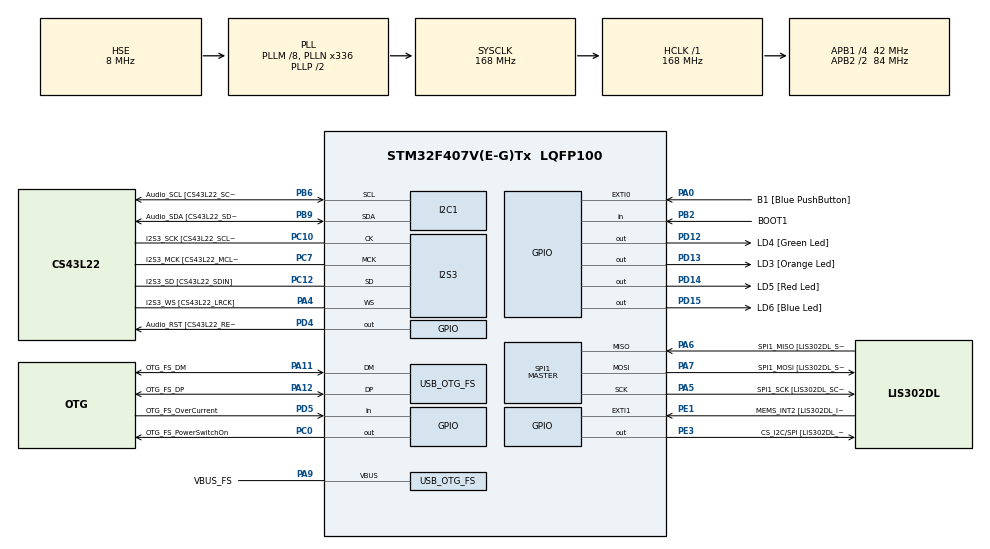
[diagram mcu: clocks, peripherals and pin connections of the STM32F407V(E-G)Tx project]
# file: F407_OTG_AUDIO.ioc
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Dma.Request0=SPI3_TX
Dma.SPI3_TX.0.Direction=DMA_MEMORY_TO_PERIPH
Dma.SPI3_TX.0.FIFOMode=DMA_FIFOMODE_ENABLE
Dma.SPI3_TX.0.FIFOThreshold=DMA_FIFO_THRESHOLD_FULL
Dma.SPI3_TX.0.Instance=DMA1_Stream5
Dma.SPI3_TX.0.MemBurst=DMA_MBURST_SINGLE
Dma.SPI3_TX.0.MemDataAlignment=DMA_MDATAALIGN_HALFWORD
Dma.SPI3_TX.0.MemInc=DMA_MINC_ENABLE
Dma.SPI3_TX.0.Mode=DMA_CIRCULAR
Dma.SPI3_TX.0.PeriphBurst=DMA_PBURST_SINGLE
Dma.SPI3_TX.0.PeriphDataAlignment=DMA_PDATAALIGN_HALFWORD
Dma.SPI3_TX.0.PeriphInc=DMA_PINC_DISABLE
Dma.SPI3_TX.0.Priority=DMA_PRIORITY_HIGH
FATFS._MAX_SS=4096
I2S3.AudioFreq=I2S_AUDIOFREQ_44K
I2S3.AudioFreq-Half_Duplex_Master=I2S_AUDIOFREQ_96K
I2S3.ErrorAudioFreq=0.24 %
I2S3.ErrorAudioFreq-Half_Duplex_Master=0.8 %
I2S3.FullDuplexMode=I2S_FULLDUPLEXMODE_DISABLE
I2S3.Instance=SPI$Index
I2S3.RealAudioFreq=44.108 KHz
I2S3.RealAudioFreq-Half_Duplex_Master=96.774 KHz
I2S3.Standard=I2S_STANDARD_PHILIPS
I2S3.VirtualMode=I2S_MODE_MASTER
Mcu.Family=STM32F4
Mcu.Name=STM32F407V(E-G)Tx
Mcu.Package=LQFP100
NVIC.DMA1_Stream5_IRQn=true\:0\:0\:false\:false\:true\:false\:true
NVIC.OTG_FS_IRQn=true\:0\:0\:false\:false\:true\:true\:true
NVIC.PriorityGroup=NVIC_PRIORITYGROUP_0
PA0-WKUP.GPIO_Label=B1 [Blue PushButton]
PA0-WKUP.GPIO_ModeDefaultEXTI=GPIO_MODE_EVT_RISING
PA0-WKUP.GPIO_PuPd=GPIO_NOPULL
PA0-WKUP.Signal=GPXTI0
PA10.GPIO_Label=OTG_FS_ID
PA10.GPIO_Mode=GPIO_MODE_AF_PP
PA10.GPIO_PuPd=GPIO_NOPULL
PA10.GPIO_Speed=GPIO_SPEED_FREQ_LOW
PA10.Signal=USB_OTG_FS_ID
PA11.GPIO_Label=OTG_FS_DM
PA11.GPIO_Mode=GPIO_MODE_AF_PP
PA11.GPIO_PuPd=GPIO_NOPULL
PA11.GPIO_Speed=GPIO_SPEED_FREQ_LOW
PA11.Mode=Host_Only
PA11.Signal=USB_OTG_FS_DM
PA12.GPIO_Label=OTG_FS_DP
PA12.GPIO_Mode=GPIO_MODE_AF_PP
PA12.GPIO_PuPd=GPIO_NOPULL
PA12.GPIO_Speed=GPIO_SPEED_FREQ_LOW
PA12.Mode=Host_Only
PA12.Signal=USB_OTG_FS_DP
PA13.GPIO_Label=SWDIO
PA13.Mode=Serial_Wire
PA13.Signal=SYS_JTMS-SWDIO
PA14.GPIO_Label=SWCLK
PA14.Mode=Serial_Wire
PA14.Signal=SYS_JTCK-SWCLK
PA4.GPIO_Label=I2S3_WS [CS43L22_LRCK]
PA4.GPIO_Mode=GPIO_MODE_AF_PP
PA4.GPIO_PuPd=GPIO_NOPULL
PA4.GPIO_Speed=GPIO_SPEED_FREQ_LOW
PA4.Mode=Half_Duplex_Master
PA4.Signal=I2S3_WS
PA5.GPIO_Label=SPI1_SCK [LIS302DL_SCL/SPC]
PA5.GPIO_Mode=GPIO_MODE_AF_PP
PA5.GPIO_PuPd=GPIO_NOPULL
PA5.GPIO_Speed=GPIO_SPEED_FREQ_LOW
PA5.Mode=Full_Duplex_Master
PA5.Signal=SPI1_SCK
PA6.GPIO_Label=SPI1_MISO [LIS302DL_SDO]
PA6.GPIO_Mode=GPIO_MODE_AF_PP
PA6.GPIO_PuPd=GPIO_NOPULL
PA6.GPIO_Speed=GPIO_SPEED_FREQ_LOW
PA6.Mode=Full_Duplex_Master
PA6.Signal=SPI1_MISO
PA7.GPIO_Label=SPI1_MOSI [LIS302DL_SDA/SDI/SDO]
PA7.GPIO_Mode=GPIO_MODE_AF_PP
PA7.GPIO_PuPd=GPIO_NOPULL
PA7.GPIO_Speed=GPIO_SPEED_FREQ_LOW
PA7.Mode=Full_Duplex_Master
PA7.Signal=SPI1_MOSI
PA9.GPIO_Label=VBUS_FS
PA9.GPIO_Mode=GPIO_MODE_INPUT
PA9.GPIO_PuPd=GPIO_NOPULL
PA9.Mode=Activate_VBUS
PA9.Signal=USB_OTG_FS_VBUS
PB10.GPIO_Label=CLK_IN [MP45DT02_CLK]
PB10.GPIO_Mode=GPIO_MODE_AF_PP
PB10.GPIO_PuPd=GPIO_NOPULL
PB10.GPIO_Speed=GPIO_SPEED_FREQ_LOW
PB10.Signal=I2S2_CK
PB2.GPIO_Label=BOOT1
PB2.GPIO_Mode=GPIO_MODE_INPUT
PB2.GPIO_PuPd=GPIO_NOPULL
PB2.Signal=GPIO_Input
PB3.GPIO_Label=SWO
PB3.Signal=SYS_JTDO-SWO
PB6.GPIO_Label=Audio_SCL [CS43L22_SCL]
PB6.GPIO_Mode=GPIO_MODE_AF_OD
PB6.GPIO_PuPd=GPIO_NOPULL
PB6.GPIO_Speed=GPIO_SPEED_FREQ_LOW
PB6.Mode=I2C
PB6.Signal=I2C1_SCL
PB9.GPIO_Label=Audio_SDA [CS43L22_SDA]
PB9.GPIO_Mode=GPIO_MODE_AF_OD
PB9.GPIO_PuPd=GPIO_NOPULL
PB9.GPIO_Speed=GPIO_SPEED_FREQ_LOW
PB9.Mode=I2C
PB9.Signal=I2C1_SDA
PC0.GPIO_Label=OTG_FS_PowerSwitchOn
PC0.GPIO_PuPd=GPIO_NOPULL
PC0.GPIO_Speed=GPIO_SPEED_FREQ_LOW
PC0.PinState=GPIO_PIN_SET
PC0.Signal=GPIO_Output
PC10.GPIO_Label=I2S3_SCK [CS43L22_SCLK]
PC10.GPIO_Mode=GPIO_MODE_AF_PP
PC10.GPIO_PuPd=GPIO_NOPULL
PC10.GPIO_Speed=GPIO_SPEED_FREQ_LOW
PC10.Mode=Half_Duplex_Master
PC10.Signal=I2S3_CK
PC12.GPIO_Label=I2S3_SD [CS43L22_SDIN]
PC12.GPIO_Mode=GPIO_MODE_AF_PP
PC12.GPIO_PuPd=GPIO_NOPULL
PC12.GPIO_Speed=GPIO_SPEED_FREQ_LOW
PC12.Mode=Half_Duplex_Master
PC12.Signal=I2S3_SD
PC14-OSC32_IN.GPIO_Label=PC14-OSC32_IN
PC14-OSC32_IN.Mode=LSE-External-Oscillator
PC14-OSC32_IN.Signal=RCC_OSC32_IN
PC15-OSC32_OUT.GPIO_Label=PC15-OSC32_OUT
PC15-OSC32_OUT.Mode=LSE-External-Oscillator
PC15-OSC32_OUT.Signal=RCC_OSC32_OUT
PC3.GPIO_Label=PDM_OUT [MP45DT02_DOUT]
PC3.GPIO_Mode=GPIO_MODE_AF_PP
PC3.GPIO_PuPd=GPIO_NOPULL
PC3.GPIO_Speed=GPIO_SPEED_FREQ_LOW
PC3.Signal=I2S2_SD
PC7.GPIO_Label=I2S3_MCK [CS43L22_MCLK]
PC7.GPIO_Mode=GPIO_MODE_AF_PP
PC7.GPIO_PuPd=GPIO_NOPULL
PC7.GPIO_Speed=GPIO_SPEED_FREQ_LOW
PC7.Mode=Master_Clock_Activated
PC7.Signal=I2S3_MCK
PD12.GPIO_Label=LD4 [Green Led]
PD12.GPIO_PuPd=GPIO_NOPULL
PD12.GPIO_Speed=GPIO_SPEED_FREQ_LOW
PD12.Signal=GPIO_Output
PD13.GPIO_Label=LD3 [Orange Led]
PD13.GPIO_PuPd=GPIO_NOPULL
PD13.GPIO_Speed=GPIO_SPEED_FREQ_LOW
PD13.Signal=GPIO_Output
PD14.GPIO_Label=LD5 [Red Led]
PD14.GPIO_PuPd=GPIO_NOPULL
PD14.GPIO_Speed=GPIO_SPEED_FREQ_LOW
PD14.Signal=GPIO_Output
PD15.GPIO_Label=LD6 [Blue Led]
PD15.GPIO_PuPd=GPIO_NOPULL
PD15.GPIO_Speed=GPIO_SPEED_FREQ_LOW
PD15.Signal=GPIO_Output
PD4.GPIO_Label=Audio_RST [CS43L22_RESET]
PD4.GPIO_PuPd=GPIO_NOPULL
PD4.GPIO_Speed=GPIO_SPEED_FREQ_LOW
PD4.Signal=GPIO_Output
PD5.GPIO_Label=OTG_FS_OverCurrent
PD5.GPIO_Mode=GPIO_MODE_INPUT
PD5.GPIO_PuPd=GPIO_NOPULL
PD5.Signal=GPIO_Input
PE1.GPIO_Label=MEMS_INT2 [LIS302DL_INT2]
PE1.GPIO_ModeDefaultEXTI=GPIO_MODE_EVT_RISING
PE1.GPIO_PuPd=GPIO_NOPULL
PE1.Signal=GPXTI1
PE3.GPIO_Label=CS_I2C/SPI [LIS302DL_CS_I2C/SPI]
PE3.GPIO_PuPd=GPIO_NOPULL
PE3.GPIO_Speed=GPIO_SPEED_FREQ_LOW
PE3.Signal=GPIO_Output
PH0-OSC_IN.GPIO_Label=PH0-OSC_IN
PH0-OSC_IN.Mode=HSE-External-Oscillator
PH0-OSC_IN.Signal=RCC_OSC_IN
PH1-OSC_OUT.GPIO_Label=PH1-OSC_OUT
PH1-OSC_OUT.Mode=HSE-External-Oscillator
PH1-OSC_OUT.Signal=RCC_OSC_OUT
ProjectManager.HeapSize=0x200
ProjectManager.StackSize=0x400
ProjectManager.TargetToolchain=STM32CubeIDE
RCC.48MHZClocksFreq_Value=48000000
RCC.AHBFreq_Value=168000000
RCC.APB1CLKDivider=RCC_HCLK_DIV4
RCC.APB1Freq_Value=42000000
RCC.APB1TimFreq_Value=84000000
RCC.APB2CLKDivider=RCC_HCLK_DIV2
RCC.APB2Freq_Value=84000000
RCC.APB2TimFreq_Value=168000000
RCC.CortexFreq_Value=168000000
RCC.HCLKFreq_Value=168000000
RCC.HSE_VALUE=8000000
RCC.HSI_VALUE=16000000
RCC.PLLI2SN=271
RCC.PLLM=8
RCC.PLLN=336
RCC.PLLQ=7
RCC.SYSCLKFreq_VALUE=168000000
RCC.SYSCLKSource=RCC_SYSCLKSOURCE_PLLCLK
RCC.VCOOutputFreq_Value=336000000
SPI1.BaudRatePrescaler-Full_Duplex_Master=SPI_BAUDRATEPRESCALER_2
SPI1.CalculateBaudRate-Full_Duplex_Master=42.0 MBits/s
SPI1.Direction=SPI_DIRECTION_2LINES
SPI1.Mode=SPI_MODE_MASTER
SPI1.Mode-Full_Duplex_Master=SPI_MODE_MASTER
SPI1.VirtualType=VM_MASTER
USB_HOST.BSP.number=1
USB_HOST.USBH_HandleTypeDef-MSC_FS=hUsbHostFS
USB_HOST.VirtualModeFS=Msc
USB_HOST0.BSP.STBoard=false
USB_HOST0.BSP.api=Unknown
USB_HOST0.BSP.i2caddr=0
USB_HOST0.BSP.i2creg=0
USB_HOST0.BSP.instance=PC0
USB_HOST0.BSP.ip=GPIO
USB_HOST0.BSP.mode=Output
USB_HOST0.BSP.name=Drive_VBUS_FS
USB_HOST0.BSP.solution=PC0
USB_OTG_FS.VirtualMode=Host_Only
USB_OTG_FS.phy_itface=HCD_PHY_EMBEDDED
VP_FATFS_VS_USB.Mode=USB
VP_USB_HOST_VS_USB_HOST_MSC_FS.Mode=MSC_FS
board=STM32F407G-DISC1

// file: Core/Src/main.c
/* USER CODE BEGIN Header */
/**
  ******************************************************************************
  * @file           : main.c
  * @brief          : Main program body
  ******************************************************************************
  * @attention
  *
  * <h2><center>&copy; Copyright (c) 2020 STMicroelectronics.
  * All rights reserved.</center></h2>
  *
  * This software component is licensed by ST under Ultimate Liberty license
  * SLA0044, the "License"; You may not use this file except in compliance with
  * the License. You may obtain a copy of the License at:
  *                             www.st.com/SLA0044
  *
  ******************************************************************************
  */
/* USER CODE END Header */

#include "main.h"
#include "fatfs.h"
#include "usb_host.h"

/* USER CODE BEGIN Includes */
#include "CS43L22.h"
/* USER CODE END Includes */

I2C_HandleTypeDef hi2c1;

I2S_HandleTypeDef hi2s3;
DMA_HandleTypeDef hdma_spi3_tx;

SPI_HandleTypeDef hspi1;

/* USER CODE BEGIN PV */
extern ApplicationTypeDef Appli_state;
/* USER CODE END PV */

void SystemClock_Config(void);
static void MX_GPIO_Init(void);
static void MX_DMA_Init(void);
static void MX_I2C1_Init(void);
static void MX_I2S3_Init(void);
static void MX_SPI1_Init(void);
void MX_USB_HOST_Process(void);

int main(void)
{

  /* MCU Configuration--------------------------------------------------------*/

  /* Reset of all peripherals, Initializes the Flash interface and the Systick. */
  HAL_Init();

  /* Configure the system clock */
  SystemClock_Config();

  /* Initialize all configured peripherals */
  MX_GPIO_Init();
  MX_DMA_Init();
  MX_I2C1_Init();
  MX_I2S3_Init();
  MX_SPI1_Init();
  MX_USB_HOST_Init();
  MX_FATFS_Init();
  /* USER CODE BEGIN 2 */
  audioInit();
  /* USER CODE END 2 */

  /* Infinite loop */
  while (1)
  {
    MX_USB_HOST_Process();

    /* USER CODE BEGIN 3 */
    switch(Appli_state){
    case APPLICATION_IDLE:
    	break;
    case APPLICATION_START:
    	f_mount(&USBHFatFS,USBHPath,0);
    	HAL_GPIO_WritePin(GPIOD,GPIO_PIN_12,GPIO_PIN_SET);
    	break;
    case APPLICATION_READY:
    	audioPlay("prueba3.wav");
    	while(1);
    	break;
    case APPLICATION_DISCONNECT:
    	HAL_GPIO_WritePin(GPIOD,GPIO_PIN_12,GPIO_PIN_RESET);
    	break;
    }
  }
  /* USER CODE END 3 */
}

void SystemClock_Config(void)
{
  RCC_OscInitTypeDef RCC_OscInitStruct = {0};
  RCC_ClkInitTypeDef RCC_ClkInitStruct = {0};
  RCC_PeriphCLKInitTypeDef PeriphClkInitStruct = {0};

  /** Configure the main internal regulator output voltage
  */
  __HAL_RCC_PWR_CLK_ENABLE();
  __HAL_PWR_VOLTAGESCALING_CONFIG(PWR_REGULATOR_VOLTAGE_SCALE1);
  /** Initializes the CPU, AHB and APB busses clocks
  */
  RCC_OscInitStruct.OscillatorType = RCC_OSCILLATORTYPE_HSE;
  RCC_OscInitStruct.HSEState = RCC_HSE_ON;
  RCC_OscInitStruct.PLL.PLLState = RCC_PLL_ON;
  RCC_OscInitStruct.PLL.PLLSource = RCC_PLLSOURCE_HSE;
  RCC_OscInitStruct.PLL.PLLM = 8;
  RCC_OscInitStruct.PLL.PLLN = 336;
  RCC_OscInitStruct.PLL.PLLP = RCC_PLLP_DIV2;
  RCC_OscInitStruct.PLL.PLLQ = 7;
  if (HAL_RCC_OscConfig(&RCC_OscInitStruct) != HAL_OK)
  {
    Error_Handler();
  }
  /** Initializes the CPU, AHB and APB busses clocks
  */
  RCC_ClkInitStruct.ClockType = RCC_CLOCKTYPE_HCLK|RCC_CLOCKTYPE_SYSCLK
                              |RCC_CLOCKTYPE_PCLK1|RCC_CLOCKTYPE_PCLK2;
  RCC_ClkInitStruct.SYSCLKSource = RCC_SYSCLKSOURCE_PLLCLK;
  RCC_ClkInitStruct.AHBCLKDivider = RCC_SYSCLK_DIV1;
  RCC_ClkInitStruct.APB1CLKDivider = RCC_HCLK_DIV4;
  RCC_ClkInitStruct.APB2CLKDivider = RCC_HCLK_DIV2;

  if (HAL_RCC_ClockConfig(&RCC_ClkInitStruct, FLASH_LATENCY_5) != HAL_OK)
  {
    Error_Handler();
  }
  PeriphClkInitStruct.PeriphClockSelection = RCC_PERIPHCLK_I2S;
  PeriphClkInitStruct.PLLI2S.PLLI2SN = 271;
  PeriphClkInitStruct.PLLI2S.PLLI2SR = 2;
  if (HAL_RCCEx_PeriphCLKConfig(&PeriphClkInitStruct) != HAL_OK)
  {
    Error_Handler();
  }
}

static void MX_I2C1_Init(void)
{

  hi2c1.Instance = I2C1;
  hi2c1.Init.ClockSpeed = 100000;
  hi2c1.Init.DutyCycle = I2C_DUTYCYCLE_2;
  hi2c1.Init.OwnAddress1 = 0;
  hi2c1.Init.AddressingMode = I2C_ADDRESSINGMODE_7BIT;
  hi2c1.Init.DualAddressMode = I2C_DUALADDRESS_DISABLE;
  hi2c1.Init.OwnAddress2 = 0;
  hi2c1.Init.GeneralCallMode = I2C_GENERALCALL_DISABLE;
  hi2c1.Init.NoStretchMode = I2C_NOSTRETCH_DISABLE;
  if (HAL_I2C_Init(&hi2c1) != HAL_OK)
  {
    Error_Handler();
  }

}

static void MX_I2S3_Init(void)
{

  hi2s3.Instance = SPI3;
  hi2s3.Init.Mode = I2S_MODE_MASTER_TX;
  hi2s3.Init.Standard = I2S_STANDARD_PHILIPS;
  hi2s3.Init.DataFormat = I2S_DATAFORMAT_16B;
  hi2s3.Init.MCLKOutput = I2S_MCLKOUTPUT_ENABLE;
  hi2s3.Init.AudioFreq = I2S_AUDIOFREQ_44K;
  hi2s3.Init.CPOL = I2S_CPOL_LOW;
  hi2s3.Init.ClockSource = I2S_CLOCK_PLL;
  hi2s3.Init.FullDuplexMode = I2S_FULLDUPLEXMODE_DISABLE;
  if (HAL_I2S_Init(&hi2s3) != HAL_OK)
  {
    Error_Handler();
  }

}

static void MX_SPI1_Init(void)
{

  /* SPI1 parameter configuration*/
  hspi1.Instance = SPI1;
  hspi1.Init.Mode = SPI_MODE_MASTER;
  hspi1.Init.Direction = SPI_DIRECTION_2LINES;
  hspi1.Init.DataSize = SPI_DATASIZE_8BIT;
  hspi1.Init.CLKPolarity = SPI_POLARITY_LOW;
  hspi1.Init.CLKPhase = SPI_PHASE_1EDGE;
  hspi1.Init.NSS = SPI_NSS_SOFT;
  hspi1.Init.BaudRatePrescaler = SPI_BAUDRATEPRESCALER_2;
  hspi1.Init.FirstBit = SPI_FIRSTBIT_MSB;
  hspi1.Init.TIMode = SPI_TIMODE_DISABLE;
  hspi1.Init.CRCCalculation = SPI_CRCCALCULATION_DISABLE;
  hspi1.Init.CRCPolynomial = 10;
  if (HAL_SPI_Init(&hspi1) != HAL_OK)
  {
    Error_Handler();
  }

}

static void MX_DMA_Init(void)
{

  /* DMA controller clock enable */
  __HAL_RCC_DMA1_CLK_ENABLE();

  /* DMA interrupt init */
  /* DMA1_Stream5_IRQn interrupt configuration */
  HAL_NVIC_SetPriority(DMA1_Stream5_IRQn, 0, 0);
  HAL_NVIC_EnableIRQ(DMA1_Stream5_IRQn);

}

static void MX_GPIO_Init(void)
{
  GPIO_InitTypeDef GPIO_InitStruct = {0};

  /* GPIO Ports Clock Enable */
  __HAL_RCC_GPIOE_CLK_ENABLE();
  __HAL_RCC_GPIOC_CLK_ENABLE();
  __HAL_RCC_GPIOH_CLK_ENABLE();
  __HAL_RCC_GPIOA_CLK_ENABLE();
  __HAL_RCC_GPIOB_CLK_ENABLE();
  __HAL_RCC_GPIOD_CLK_ENABLE();

  /*Configure GPIO pin Output Level */
  HAL_GPIO_WritePin(CS_I2C_SPI_GPIO_Port, CS_I2C_SPI_Pin, GPIO_PIN_RESET);

  /*Configure GPIO pin Output Level */
  HAL_GPIO_WritePin(OTG_FS_PowerSwitchOn_GPIO_Port, OTG_FS_PowerSwitchOn_Pin, GPIO_PIN_SET);

  /*Configure GPIO pin Output Level */
  HAL_GPIO_WritePin(GPIOD, LD4_Pin|LD3_Pin|LD5_Pin|LD6_Pin
                          |Audio_RST_Pin, GPIO_PIN_RESET);

  /*Configure GPIO pin : CS_I2C_SPI_Pin */
  GPIO_InitStruct.Pin = CS_I2C_SPI_Pin;
  GPIO_InitStruct.Mode = GPIO_MODE_OUTPUT_PP;
  GPIO_InitStruct.Pull = GPIO_NOPULL;
  GPIO_InitStruct.Speed = GPIO_SPEED_FREQ_LOW;
  HAL_GPIO_Init(CS_I2C_SPI_GPIO_Port, &GPIO_InitStruct);

  /*Configure GPIO pin : OTG_FS_PowerSwitchOn_Pin */
  GPIO_InitStruct.Pin = OTG_FS_PowerSwitchOn_Pin;
  GPIO_InitStruct.Mode = GPIO_MODE_OUTPUT_PP;
  GPIO_InitStruct.Pull = GPIO_NOPULL;
  GPIO_InitStruct.Speed = GPIO_SPEED_FREQ_LOW;
  HAL_GPIO_Init(OTG_FS_PowerSwitchOn_GPIO_Port, &GPIO_InitStruct);

  /*Configure GPIO pin : PDM_OUT_Pin */
  GPIO_InitStruct.Pin = PDM_OUT_Pin;
  GPIO_InitStruct.Mode = GPIO_MODE_AF_PP;
  GPIO_InitStruct.Pull = GPIO_NOPULL;
  GPIO_InitStruct.Speed = GPIO_SPEED_FREQ_LOW;
  GPIO_InitStruct.Alternate = GPIO_AF5_SPI2;
  HAL_GPIO_Init(PDM_OUT_GPIO_Port, &GPIO_InitStruct);

  /*Configure GPIO pin : B1_Pin */
  GPIO_InitStruct.Pin = B1_Pin;
  GPIO_InitStruct.Mode = GPIO_MODE_EVT_RISING;
  GPIO_InitStruct.Pull = GPIO_NOPULL;
  HAL_GPIO_Init(B1_GPIO_Port, &GPIO_InitStruct);

  /*Configure GPIO pin : BOOT1_Pin */
  GPIO_InitStruct.Pin = BOOT1_Pin;
  GPIO_InitStruct.Mode = GPIO_MODE_INPUT;
  GPIO_InitStruct.Pull = GPIO_NOPULL;
  HAL_GPIO_Init(BOOT1_GPIO_Port, &GPIO_InitStruct);

  /*Configure GPIO pin : CLK_IN_Pin */
  GPIO_InitStruct.Pin = CLK_IN_Pin;
  GPIO_InitStruct.Mode = GPIO_MODE_AF_PP;
  GPIO_InitStruct.Pull = GPIO_NOPULL;
  GPIO_InitStruct.Speed = GPIO_SPEED_FREQ_LOW;
  GPIO_InitStruct.Alternate = GPIO_AF5_SPI2;
  HAL_GPIO_Init(CLK_IN_GPIO_Port, &GPIO_InitStruct);

  /*Configure GPIO pins : LD4_Pin LD3_Pin LD5_Pin LD6_Pin
                           Audio_RST_Pin */
  GPIO_InitStruct.Pin = LD4_Pin|LD3_Pin|LD5_Pin|LD6_Pin
                          |Audio_RST_Pin;
  GPIO_InitStruct.Mode = GPIO_MODE_OUTPUT_PP;
  GPIO_InitStruct.Pull = GPIO_NOPULL;
  GPIO_InitStruct.Speed = GPIO_SPEED_FREQ_LOW;
  HAL_GPIO_Init(GPIOD, &GPIO_InitStruct);

  /*Configure GPIO pin : OTG_FS_OverCurrent_Pin */
  GPIO_InitStruct.Pin = OTG_FS_OverCurrent_Pin;
  GPIO_InitStruct.Mode = GPIO_MODE_INPUT;
  GPIO_InitStruct.Pull = GPIO_NOPULL;
  HAL_GPIO_Init(OTG_FS_OverCurrent_GPIO_Port, &GPIO_InitStruct);

  /*Configure GPIO pin : MEMS_INT2_Pin */
  GPIO_InitStruct.Pin = MEMS_INT2_Pin;
  GPIO_InitStruct.Mode = GPIO_MODE_EVT_RISING;
  GPIO_InitStruct.Pull = GPIO_NOPULL;
  HAL_GPIO_Init(MEMS_INT2_GPIO_Port, &GPIO_InitStruct);

}

void Error_Handler(void)
{
}

/************************ (C) COPYRIGHT STMicroelectronics *****END OF FILE****/
